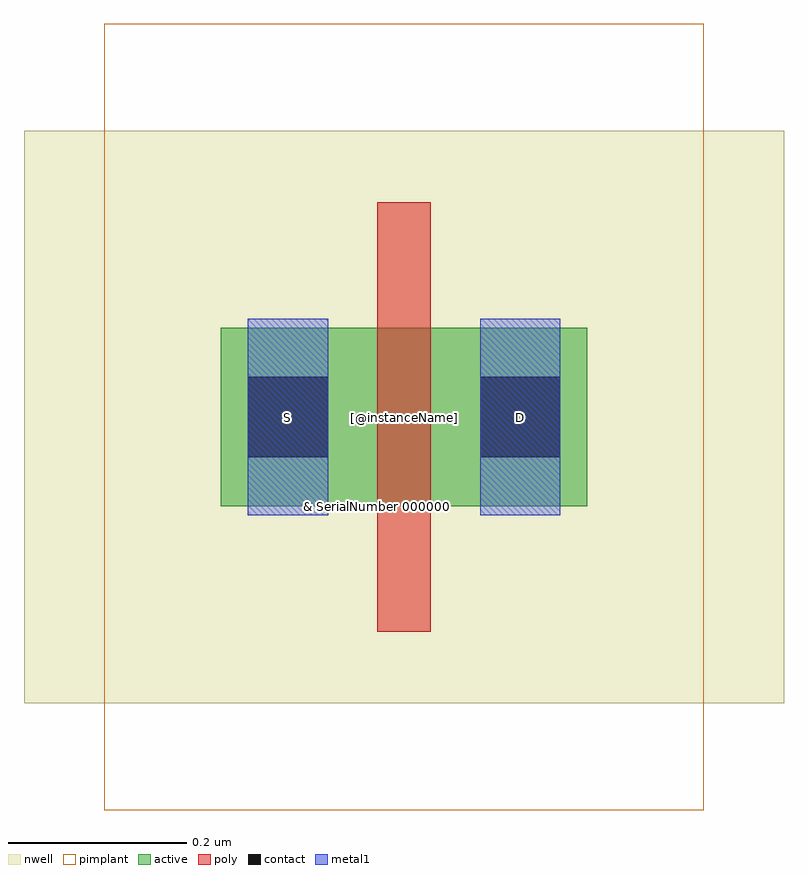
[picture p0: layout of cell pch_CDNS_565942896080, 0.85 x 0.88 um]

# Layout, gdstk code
import gdstk
lib = gdstk.Library(unit=1e-6, precision=1e-09)
def R(c, l, rs):  # rectangles x0, y0, x1, y1
    for r in rs: c.add(gdstk.rectangle(r[:2], r[2:], *l))
nwell = (3, 0)
active = (6, 0)
poly = (17, 0)
pimplant = (25, 0)
contact = (30, 0)
metal1 = (31, 0)

pch_cdns_565942896080 = lib.new_cell('pch_CDNS_565942896080')
R(pch_cdns_565942896080, nwell, [(-0.395,-0.22,0.455,0.42)])
R(pch_cdns_565942896080, active, [(-0.175,0,0,0.2), (0,0,0.06,0.2), (0.06,0,0.235,0.2)])
R(pch_cdns_565942896080, poly, [(0,-0.14,0.06,0), (0,0,0.06,0.2), (0,0.2,0.06,0.34)])
R(pch_cdns_565942896080, pimplant, [(-0.305,-0.34,0.365,0.54)])
R(pch_cdns_565942896080, contact, [(-0.145,0.055,-0.055,0.145), (0.115,0.055,0.205,0.145)])
R(pch_cdns_565942896080, metal1, [(-0.145,-0.01,-0.055,0.21), (0.115,-0.01,0.205,0.21)])
pch_cdns_565942896080.add(gdstk.Label('& SerialNumber 000000', (0,0), layer=63, texttype=63))
pch_cdns_565942896080.add(gdstk.Label('& Distributor TSMC', (0,0), layer=63, texttype=63))
pch_cdns_565942896080.add(gdstk.Label('& Metric 1', (0,0), layer=63, texttype=63))
pch_cdns_565942896080.add(gdstk.Label('& PDK TechNode "CRN65LP"', (0,0), layer=63, texttype=63))
pch_cdns_565942896080.add(gdstk.Label('& Product    tsmcN65_PDK', (0,0), layer=63, texttype=63))
pch_cdns_565942896080.add(gdstk.Label('& Vendor     Taiwan Semiconductor manufacturing Corp.', (0,0), layer=63, texttype=63))
pch_cdns_565942896080.add(gdstk.Label('[@instanceName]', (0.03,0.1), layer=127, texttype=0))
pch_cdns_565942896080.add(gdstk.Label('pch\n0.2/0.06\n', (0,0), layer=127, texttype=0))
pch_cdns_565942896080.add(gdstk.Label('D', (0.16,0.1), layer=127, texttype=0))
pch_cdns_565942896080.add(gdstk.Label('S', (-0.1,0.1), layer=127, texttype=0))

lib.write_gds('pch_CDNS_565942896080.gds')
